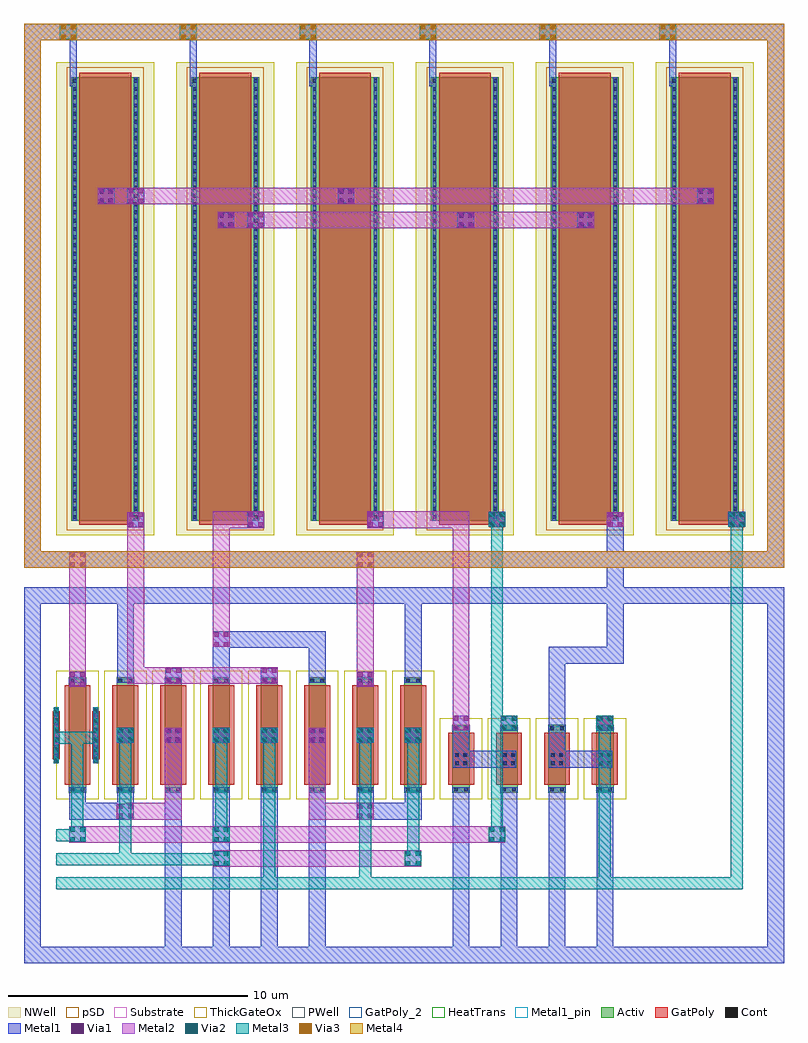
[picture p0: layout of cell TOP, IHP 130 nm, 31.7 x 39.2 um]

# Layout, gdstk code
from math import pi, radians
import gdstk
lib = gdstk.Library(unit=1e-6, precision=1e-09)
def R(c, l, rs):  # rectangles x0, y0, x1, y1
    for r in rs: c.add(gdstk.rectangle(r[:2], r[2:], *l))
def A(c, l, x, y, w, h, nx, ny, dx, dy):  # array of equal rectangles
    R(c, l, [(x+i*dx, y+j*dy, x+i*dx+w, y+j*dy+h) for i in range(nx) for j in range(ny)])
Activ = (1, 0)
GatPoly = (5, 0)
GatPoly_2 = (5, 2)
Cont = (6, 0)
Metal1 = (8, 0)
Metal1_pin = (8, 2)
Metal2 = (10, 0)
pSD = (14, 0)
Via1 = (19, 0)
Via2 = (29, 0)
Metal3 = (30, 0)
NWell = (31, 0)
Substrate = (40, 0)
ThickGateOx = (44, 0)
PWell = (46, 0)
Via3 = (49, 0)
Metal4 = (50, 0)
HeatTrans = (51, 0)

pmoshv = lib.new_cell('pmosHV')
R(pmoshv, Activ, [(0,0,0.3,0.3), (0,0,2.84,18.5), (2.54,0,2.84,0.3)])
R(pmoshv, GatPoly, [(0.34,-0.18,2.5,18.68)])
R(pmoshv, GatPoly_2, [(0.34,-0.18,2.5,18.68)])
A(pmoshv, Cont, 0.07, 0.41, 0.16, 0.16, 1, 3, 0, 0.345)
A(pmoshv, Cont, 2.61, 0.41, 0.16, 0.16, 1, 3, 0, 0.345)
A(pmoshv, Cont, 0.07, 1.44, 0.16, 0.16, 1, 3, 0, 0.345)
A(pmoshv, Cont, 2.61, 1.44, 0.16, 0.16, 1, 3, 0, 0.345)
A(pmoshv, Cont, 0.07, 2.47, 0.16, 0.16, 1, 3, 0, 0.345)
A(pmoshv, Cont, 2.61, 2.47, 0.16, 0.16, 1, 3, 0, 0.345)
A(pmoshv, Cont, 0.07, 3.5, 0.16, 0.16, 1, 3, 0, 0.345)
A(pmoshv, Cont, 2.61, 3.5, 0.16, 0.16, 1, 3, 0, 0.345)
A(pmoshv, Cont, 0.07, 4.53, 0.16, 0.16, 1, 3, 0, 0.345)
A(pmoshv, Cont, 2.61, 4.53, 0.16, 0.16, 1, 3, 0, 0.345)
A(pmoshv, Cont, 0.07, 5.56, 0.16, 0.16, 1, 3, 0, 0.345)
A(pmoshv, Cont, 2.61, 5.56, 0.16, 0.16, 1, 3, 0, 0.345)
A(pmoshv, Cont, 0.07, 6.59, 0.16, 0.16, 1, 3, 0, 0.345)
A(pmoshv, Cont, 2.61, 6.59, 0.16, 0.16, 1, 3, 0, 0.345)
A(pmoshv, Cont, 0.07, 7.62, 0.16, 0.16, 1, 3, 0, 0.345)
A(pmoshv, Cont, 2.61, 7.62, 0.16, 0.16, 1, 3, 0, 0.345)
A(pmoshv, Cont, 0.07, 8.65, 0.16, 0.16, 1, 4, 0, 0.345)
A(pmoshv, Cont, 2.61, 8.65, 0.16, 0.16, 1, 4, 0, 0.345)
A(pmoshv, Cont, 0.07, 10.025, 0.16, 0.16, 1, 3, 0, 0.345)
A(pmoshv, Cont, 2.61, 10.025, 0.16, 0.16, 1, 3, 0, 0.345)
A(pmoshv, Cont, 0.07, 11.055, 0.16, 0.16, 1, 3, 0, 0.345)
A(pmoshv, Cont, 2.61, 11.055, 0.16, 0.16, 1, 3, 0, 0.345)
A(pmoshv, Cont, 0.07, 12.085, 0.16, 0.16, 1, 3, 0, 0.345)
A(pmoshv, Cont, 2.61, 12.085, 0.16, 0.16, 1, 3, 0, 0.345)
A(pmoshv, Cont, 0.07, 13.115, 0.16, 0.16, 1, 3, 0, 0.345)
A(pmoshv, Cont, 2.61, 13.115, 0.16, 0.16, 1, 3, 0, 0.345)
A(pmoshv, Cont, 0.07, 14.145, 0.16, 0.16, 1, 3, 0, 0.345)
A(pmoshv, Cont, 2.61, 14.145, 0.16, 0.16, 1, 3, 0, 0.345)
A(pmoshv, Cont, 0.07, 15.175, 0.16, 0.16, 1, 3, 0, 0.345)
A(pmoshv, Cont, 2.61, 15.175, 0.16, 0.16, 1, 3, 0, 0.345)
A(pmoshv, Cont, 0.07, 16.205, 0.16, 0.16, 1, 3, 0, 0.345)
A(pmoshv, Cont, 2.61, 16.205, 0.16, 0.16, 1, 3, 0, 0.345)
A(pmoshv, Cont, 0.07, 17.235, 0.16, 0.16, 1, 4, 0, 0.345)
A(pmoshv, Cont, 2.61, 17.235, 0.16, 0.16, 1, 4, 0, 0.345)
R(pmoshv, Cont, [(0.07,0.07,0.23,0.23), (2.61,0.07,2.77,0.23)])
R(pmoshv, Metal1, [(0.07,0,0.23,18.5), (2.61,0,2.77,18.5)])
R(pmoshv, Metal1_pin, [(0.07,0,0.23,18.5), (2.61,0,2.77,18.5)])
R(pmoshv, pSD, [(-0.18,-0.4,3.02,18.9)])
R(pmoshv, NWell, [(-0.62,-0.62,3.46,19.12)])
R(pmoshv, Substrate, [(2.54,0,2.84,0.3)])
R(pmoshv, ThickGateOx, [(-0.62,-0.62,3.46,19.12)])
R(pmoshv, HeatTrans, [(0.34,-0.18,2.5,18.68)])
pmoshv.add(gdstk.Label('pmosHV', (1.42,9.25), layer=63, texttype=0))
pmoshv.add(gdstk.Label('pmos', (1.42,9.25), layer=51, texttype=0))

nmoshv = lib.new_cell('nmosHV')
R(nmoshv, Activ, [(0,0,0.3,0.3), (0,0,4.82,0.72), (4.52,0,4.82,0.3)])
R(nmoshv, GatPoly, [(0.34,-0.18,4.48,0.9)])
R(nmoshv, GatPoly_2, [(0.34,-0.18,4.48,0.9)])
R(nmoshv, Cont, [(0.07,0.07,0.23,0.23), (4.59,0.07,4.75,0.23), (0.07,0.49,0.23,0.65), (4.59,0.49,4.75,0.65)])
R(nmoshv, Metal1, [(0.07,0,0.23,0.72), (4.59,0,4.75,0.72)])
R(nmoshv, Metal1_pin, [(0.07,0,0.23,0.72), (4.59,0,4.75,0.72)])
R(nmoshv, ThickGateOx, [(-0.27,-0.52,5.09,1.24)])
R(nmoshv, HeatTrans, [(0.34,-0.18,4.48,0.9)])
nmoshv.add(gdstk.Label('nmosHV', (2.41,0.36), layer=63, texttype=0))
nmoshv.add(gdstk.Label('nmosHV', (2.41,0.36), layer=51, texttype=0))

nmoshv_2 = lib.new_cell('nmosHV$2')
R(nmoshv_2, Activ, [(0,0,0.3,0.3), (0,0,2.84,0.72), (2.54,0,2.84,0.3)])
R(nmoshv_2, GatPoly, [(0.34,-0.18,2.5,0.9)])
R(nmoshv_2, GatPoly_2, [(0.34,-0.18,2.5,0.9)])
R(nmoshv_2, Cont, [(0.07,0.07,0.23,0.23), (2.61,0.07,2.77,0.23), (0.07,0.49,0.23,0.65), (2.61,0.49,2.77,0.65)])
R(nmoshv_2, Metal1, [(0.07,0,0.23,0.72), (2.61,0,2.77,0.72)])
R(nmoshv_2, Metal1_pin, [(0.07,0,0.23,0.72), (2.61,0,2.77,0.72)])
R(nmoshv_2, ThickGateOx, [(-0.27,-0.52,3.11,1.24)])
R(nmoshv_2, HeatTrans, [(0.34,-0.18,2.5,0.9)])
nmoshv_2.add(gdstk.Label('nmosHV', (1.42,0.36), layer=63, texttype=0))
nmoshv_2.add(gdstk.Label('nmosHV', (1.42,0.36), layer=51, texttype=0))

via_stack_3 = lib.new_cell('via_stack$3')
R(via_stack_3, Metal1, [(-0.35,-0.31,0.35,0.31)])
R(via_stack_3, Metal2, [(-0.35,-0.305,0.35,0.305)])
R(via_stack_3, Via1, [(-0.3,-0.3,-0.11,-0.11), (0.11,-0.3,0.3,-0.11), (-0.3,0.11,-0.11,0.3), (0.11,0.11,0.3,0.3)])
R(via_stack_3, Via2, [(-0.3,-0.3,-0.11,-0.11), (0.11,-0.3,0.3,-0.11), (-0.3,0.11,-0.11,0.3), (0.11,0.11,0.3,0.3)])
R(via_stack_3, Metal3, [(-0.35,-0.305,0.35,0.305)])
R(via_stack_3, Via3, [(-0.3,-0.3,-0.11,-0.11), (0.11,-0.3,0.3,-0.11), (-0.3,0.11,-0.11,0.3), (0.11,0.11,0.3,0.3)])
R(via_stack_3, Metal4, [(-0.35,-0.305,0.35,0.305)])

via_stack_2 = lib.new_cell('via_stack$2')
R(via_stack_2, GatPoly, [(-0.32,-0.32,0.32,0.32)])
R(via_stack_2, Cont, [(-0.25,-0.25,-0.09,-0.09), (0.09,-0.25,0.25,-0.09), (-0.25,0.09,-0.09,0.25), (0.09,0.09,0.25,0.25)])
R(via_stack_2, Metal1, [(-0.35,-0.31,0.35,0.31)])
R(via_stack_2, Metal2, [(-0.35,-0.305,0.35,0.305)])
R(via_stack_2, Via1, [(-0.3,-0.3,-0.11,-0.11), (0.11,-0.3,0.3,-0.11), (-0.3,0.11,-0.11,0.3), (0.11,0.11,0.3,0.3)])

via_stack = lib.new_cell('via_stack')
R(via_stack, Metal1, [(-0.35,-0.31,0.35,0.31)])
R(via_stack, Metal2, [(-0.35,-0.305,0.35,0.305)])
R(via_stack, Via1, [(-0.3,-0.3,-0.11,-0.11), (0.11,-0.3,0.3,-0.11), (-0.3,0.11,-0.11,0.3), (0.11,0.11,0.3,0.3)])

text = lib.new_cell('TEXT')

via_stack_4 = lib.new_cell('via_stack$4')
R(via_stack_4, GatPoly, [(-0.32,-0.32,0.32,0.32)])
R(via_stack_4, Cont, [(-0.25,-0.25,-0.09,-0.09), (0.09,-0.25,0.25,-0.09), (-0.25,0.09,-0.09,0.25), (0.09,0.09,0.25,0.25)])
R(via_stack_4, Metal1, [(-0.35,-0.31,0.35,0.31)])
R(via_stack_4, Metal2, [(-0.35,-0.305,0.35,0.305)])
R(via_stack_4, Via1, [(-0.3,-0.3,-0.11,-0.11), (0.11,-0.3,0.3,-0.11), (-0.3,0.11,-0.11,0.3), (0.11,0.11,0.3,0.3)])
R(via_stack_4, Via2, [(-0.3,-0.3,-0.11,-0.11), (0.11,-0.3,0.3,-0.11), (-0.3,0.11,-0.11,0.3), (0.11,0.11,0.3,0.3)])
R(via_stack_4, Metal3, [(-0.35,-0.305,0.35,0.305)])

via_stack_5 = lib.new_cell('via_stack$5')
R(via_stack_5, GatPoly, [(-0.32,-0.32,0.32,0.32)])
R(via_stack_5, Cont, [(-0.25,-0.25,-0.09,-0.09), (0.09,-0.25,0.25,-0.09), (-0.25,0.09,-0.09,0.25), (0.09,0.09,0.25,0.25)])
R(via_stack_5, Metal1, [(-0.3,-0.25,0.3,0.25)])

via_stack_6 = lib.new_cell('via_stack$6')
R(via_stack_6, Metal2, [(-0.35,-0.305,0.35,0.305)])
R(via_stack_6, Via2, [(-0.3,-0.3,-0.11,-0.11), (0.11,-0.3,0.3,-0.11), (-0.3,0.11,-0.11,0.3), (0.11,0.11,0.3,0.3)])
R(via_stack_6, Metal3, [(-0.35,-0.305,0.35,0.305)])

via_stack_7 = lib.new_cell('via_stack$7')
R(via_stack_7, Metal1, [(-0.35,-0.31,0.35,0.31)])
R(via_stack_7, Metal2, [(-0.35,-0.305,0.35,0.305)])
R(via_stack_7, Via1, [(-0.3,-0.3,-0.11,-0.11), (0.11,-0.3,0.3,-0.11), (-0.3,0.11,-0.11,0.3), (0.11,0.11,0.3,0.3)])
R(via_stack_7, Via2, [(-0.3,-0.3,-0.11,-0.11), (0.11,-0.3,0.3,-0.11), (-0.3,0.11,-0.11,0.3), (0.11,0.11,0.3,0.3)])
R(via_stack_7, Metal3, [(-0.35,-0.305,0.35,0.305)])

via_stack_8 = lib.new_cell('via_stack$8')
R(via_stack_8, GatPoly, [(-0.15,-1,0.15,1)])
A(via_stack_8, Cont, -0.08, -0.93, 0.16, 0.16, 1, 6, 0, 0.34)
R(via_stack_8, Metal1, [(-0.105,-1.17,0.105,1.17)])
R(via_stack_8, Metal2, [(-0.1,-1.17,0.1,1.17)])
A(via_stack_8, Via1, -0.095, -1.12, 0.19, 0.19, 1, 6, 0, 0.41)
A(via_stack_8, Via2, -0.095, -1.12, 0.19, 0.19, 1, 6, 0, 0.41)
R(via_stack_8, Metal3, [(-0.1,-1.17,0.1,1.17)])

top = lib.new_cell('TOP')
R(top, PWell, [(-1.35,-1.35,30.35,21.35)])
top.add(gdstk.FlexPath([(-1,21),(30,21),(30,-1),(-1,-1),(-1,21.35)], 0.7, ends="flush", simple_path=True, layer=8, datatype=0))  # Metal1
top.add(gdstk.FlexPath([(4.88,-10.58),(4.88,-17.5)], 0.7, ends="flush", simple_path=True, layer=8, datatype=0))  # Metal1
top.add(gdstk.FlexPath([(6.88,-10.58),(6.88,-17.5)], 0.7, ends="flush", simple_path=True, layer=8, datatype=0))  # Metal1
top.add(gdstk.FlexPath([(8.88,-10.58),(8.88,-17.5)], 0.7, ends="flush", simple_path=True, layer=8, datatype=0))  # Metal1
top.add(gdstk.FlexPath([(10.88,-10.58),(10.88,-17.5)], 0.7, ends="flush", simple_path=True, layer=8, datatype=0))  # Metal1
top.add(gdstk.FlexPath([(6.878,-4.03),(6.878,-6.14)], 0.7, ends="flush", simple_path=True, layer=8, datatype=0))  # Metal1
top.add(gdstk.FlexPath([(6.528,-4.34),(10.88,-4.34),(10.88,-6.14)], 0.7, ends="flush", simple_path=True, layer=8, datatype=0))  # Metal1
top.add(gdstk.FlexPath([(14.88,-6.06),(14.88,-2.5)], 0.7, ends="flush", simple_path=True, layer=8, datatype=0))  # Metal1
top.add(gdstk.FlexPath([(12.88,-10.5),(12.88,-11.5),(14.88,-11.5),(14.88,-10.5),(14.88,-10.5)], 0.7, ends="flush", simple_path=True, layer=8, datatype=0))  # Metal1
top.add(gdstk.FlexPath([(16.88,-10.5),(16.88,-17.5)], 0.7, ends="flush", simple_path=True, layer=8, datatype=0))  # Metal1
top.add(gdstk.FlexPath([(18.88,-10.5),(18.88,-17.5)], 0.7, ends="flush", simple_path=True, layer=8, datatype=0))  # Metal1
top.add(gdstk.FlexPath([(20.88,-10.5),(20.88,-17.5)], 0.7, ends="flush", simple_path=True, layer=8, datatype=0))  # Metal1
top.add(gdstk.FlexPath([(22.88,-10.5),(22.88,-17.5)], 0.7, ends="flush", simple_path=True, layer=8, datatype=0))  # Metal1
top.add(gdstk.FlexPath([(16.88,-7.96),(16.88,-9.33),(19.179,-9.33)], 0.7, ends="flush", simple_path=True, layer=8, datatype=0))  # Metal1
top.add(gdstk.FlexPath([(20.88,-7.96),(20.88,-9.33),(23.179,-9.33)], 0.7, ends="flush", simple_path=True, layer=8, datatype=0))  # Metal1
top.add(gdstk.FlexPath([(23.311,0.965),(23.311,-5),(20.88,-5),(20.88,-8.04)], 0.7, ends="flush", simple_path=True, layer=8, datatype=0))  # Metal1
top.add(gdstk.FlexPath([(0.705,20.7),(0.705,18.89),(0.85,18.89)], 0.3, ends="flush", simple_path=True, layer=8, datatype=0))  # Metal1
top.add(gdstk.FlexPath([(5.705,20.7),(5.705,18.89),(5.85,18.89)], 0.3, ends="flush", simple_path=True, layer=8, datatype=0))  # Metal1
top.add(gdstk.FlexPath([(15.705,20.7),(15.705,18.89),(15.85,18.89)], 0.3, ends="flush", simple_path=True, layer=8, datatype=0))  # Metal1
top.add(gdstk.FlexPath([(10.705,20.7),(10.705,18.89),(10.85,18.89)], 0.3, ends="flush", simple_path=True, layer=8, datatype=0))  # Metal1
top.add(gdstk.FlexPath([(20.705,20.7),(20.705,18.89),(20.85,18.89)], 0.3, ends="flush", simple_path=True, layer=8, datatype=0))  # Metal1
top.add(gdstk.FlexPath([(25.705,20.7),(25.705,18.89),(25.85,18.89)], 0.3, ends="flush", simple_path=True, layer=8, datatype=0))  # Metal1
top.add(gdstk.FlexPath([(-1,21),(30,21),(30,-1),(-1,-1),(-1,21.35)], 0.7, ends="flush", simple_path=True, layer=8, datatype=0))  # Metal1
top.add(gdstk.FlexPath([(2.88,-6.06),(2.88,-2.5)], 0.7, ends="flush", simple_path=True, layer=8, datatype=0))  # Metal1
top.add(gdstk.FlexPath([(-1,-2.5),(30,-2.5),(30,-17.5),(-1,-17.5),(-1,-2.5),(-0.5,-2.5)], 0.7, ends="flush", simple_path=True, layer=8, datatype=0))  # Metal1
top.add(gdstk.FlexPath([(0.88,-10.5),(0.88,-11.5),(2.88,-11.5),(2.88,-10.5),(2.88,-10.5)], 0.7, ends="flush", simple_path=True, layer=8, datatype=0))  # Metal1
top.add(gdstk.FlexPath([(2.879,-11.502),(4.879,-11.502),(4.879,-8.33)], 0.7, ends="flush", simple_path=True, layer=10, datatype=0))  # Metal2
top.add(gdstk.FlexPath([(3.311,0.965),(3.311,-5.84),(5.238,-5.84),(5.238,-5.84)], 0.7, ends="flush", simple_path=True, layer=10, datatype=0))  # Metal2
top.add(gdstk.FlexPath([(5.238,-5.84),(9.231,-5.84)], 0.7, ends="flush", simple_path=True, layer=10, datatype=0))  # Metal2
top.add(gdstk.FlexPath([(13.229,-11.502),(10.879,-11.502),(10.879,-8.635)], 0.7, ends="flush", simple_path=True, layer=10, datatype=0))  # Metal2
top.add(gdstk.FlexPath([(0.529,-12.472),(7.229,-12.472)], 0.7, ends="flush", simple_path=True, layer=10, datatype=0))  # Metal2
top.add(gdstk.FlexPath([(6.529,-13.472),(15.229,-13.472)], 0.7, ends="flush", simple_path=True, layer=10, datatype=0))  # Metal2
top.add(gdstk.FlexPath([(7.229,-12.472),(18.729,-12.472)], 0.7, ends="flush", simple_path=True, layer=10, datatype=0))  # Metal2
top.add(gdstk.FlexPath([(8.661,0.66),(6.878,0.66),(6.878,-4.645)], 0.7, ends="flush", simple_path=True, layer=10, datatype=0))  # Metal2
top.add(gdstk.FlexPath([(12.961,0.66),(16.879,0.66),(16.879,-8.135)], 0.7, ends="flush", simple_path=True, layer=10, datatype=0))  # Metal2
top.add(gdstk.FlexPath([(6.73,13.16),(22.43,13.16)], 0.7, ends="flush", simple_path=True, layer=10, datatype=0))  # Metal2
top.add(gdstk.FlexPath([(0.88,-1),(0.88,-6.06)], 0.7, ends="flush", simple_path=True, layer=10, datatype=0))  # Metal2
top.add(gdstk.FlexPath([(12.88,-1),(12.88,-6.06)], 0.7, ends="flush", simple_path=True, layer=10, datatype=0))  # Metal2
top.add(gdstk.FlexPath([(1.73,14.16),(27.43,14.16)], 0.7, ends="flush", simple_path=True, layer=10, datatype=0))  # Metal2
top.add(gdstk.FlexPath([(0,-8.44),(1.65,-8.44)], 0.5, ends="flush", simple_path=True, layer=30, datatype=0))  # Metal3
top.add(gdstk.FlexPath([(8.879,-8.33),(8.879,-14.75)], 0.5, ends="flush", simple_path=True, layer=30, datatype=0))  # Metal3
top.add(gdstk.FlexPath([(12.879,-8.33),(12.879,-14.75)], 0.5, ends="flush", simple_path=True, layer=30, datatype=0))  # Metal3
top.add(gdstk.FlexPath([(22.879,-7.525),(22.879,-14.75)], 0.5, ends="flush", simple_path=True, layer=30, datatype=0))  # Metal3
top.add(gdstk.FlexPath([(18.379,0.975),(18.379,-12.75)], 0.5, ends="flush", simple_path=True, layer=30, datatype=0))  # Metal3
top.add(gdstk.FlexPath([(28.379,0.975),(28.379,-14.5),(23.5,-14.5)], 0.5, ends="flush", simple_path=True, layer=30, datatype=0))  # Metal3
top.add(gdstk.FlexPath([(0,-12.5),(1,-12.5)], 0.5, ends="flush", simple_path=True, layer=30, datatype=0))  # Metal3
top.add(gdstk.FlexPath([(0,-13.5),(7.229,-13.5)], 0.5, ends="flush", simple_path=True, layer=30, datatype=0))  # Metal3
top.add(gdstk.FlexPath([(0,-14.5),(23.5,-14.5),(23.5,-14.5)], 0.5, ends="flush", simple_path=True, layer=30, datatype=0))  # Metal3
top.add(gdstk.FlexPath([(2.879,-13.751),(2.879,-8.33),(2.879,-8.33)], 0.5, ends="flush", simple_path=True, layer=30, datatype=0))  # Metal3
top.add(gdstk.FlexPath([(0.88,-8.32),(0.88,-12.5)], 0.5, ends="flush", simple_path=True, layer=30, datatype=0))  # Metal3
top.add(gdstk.FlexPath([(6.88,-8.32),(6.88,-12.5)], 0.5, ends="flush", simple_path=True, layer=30, datatype=0))  # Metal3
top.add(gdstk.FlexPath([(14.879,-13.751),(14.879,-8.33),(14.879,-8.33)], 0.5, ends="flush", simple_path=True, layer=30, datatype=0))  # Metal3
top.add(gdstk.FlexPath([(-1,21),(30,21),(30,-1),(-1,-1),(-1,21),(-0.5,21)], 0.7, ends="flush", simple_path=True, layer=50, datatype=0))  # Metal4
top.add(gdstk.Reference(pmoshv, (25.62,0.62)))
top.add(gdstk.Reference(pmoshv, (20.62,0.62)))
top.add(gdstk.Reference(pmoshv, (10.62,0.62)))
top.add(gdstk.Reference(pmoshv, (5.62,0.62)))
top.add(gdstk.Reference(pmoshv, (0.62,0.62)))
top.add(gdstk.Reference(nmoshv, (3.24,-10.73), rotation=pi/2))
top.add(gdstk.Reference(nmoshv, (5.24,-10.73), rotation=pi/2))
top.add(gdstk.Reference(nmoshv, (7.24,-10.73), rotation=pi/2))
top.add(gdstk.Reference(nmoshv, (9.24,-10.73), rotation=pi/2))
top.add(gdstk.Reference(nmoshv, (11.24,-10.73), rotation=pi/2))
top.add(gdstk.Reference(nmoshv, (13.24,-10.73), rotation=pi/2))
top.add(gdstk.Reference(nmoshv, (15.24,-10.73), rotation=pi/2))
top.add(gdstk.Reference(nmoshv_2, (17.24,-10.73), rotation=pi/2))
top.add(gdstk.Reference(nmoshv_2, (19.24,-10.73), rotation=pi/2))
top.add(gdstk.Reference(nmoshv_2, (21.24,-10.73), rotation=pi/2))
top.add(gdstk.Reference(nmoshv_2, (23.24,-10.73), rotation=pi/2))
top.add(gdstk.Reference(via_stack_3, (0.5,21)))
top.add(gdstk.Reference(via_stack_3, (5.5,21)))
top.add(gdstk.Reference(via_stack_3, (15.5,21)))
top.add(gdstk.Reference(via_stack_3, (10.5,21)))
top.add(gdstk.Reference(via_stack_3, (20.5,21)))
top.add(gdstk.Reference(via_stack_3, (25.5,21)))
top.add(gdstk.Reference(via_stack_2, (12.08,14.16)))
top.add(gdstk.Reference(via_stack, (3.311,14.16)))
top.add(gdstk.Reference(via_stack_2, (2.08,14.16)))
top.add(gdstk.Reference(via_stack_2, (17.08,13.16)))
top.add(gdstk.Reference(via_stack, (8.311,13.16)))
top.add(gdstk.Reference(via_stack_2, (7.08,13.16)))
top.add(gdstk.Reference(pmoshv, (15.62,0.62)))
top.add(gdstk.Reference(via_stack_2, (27.08,14.16)))
top.add(gdstk.Reference(via_stack_2, (22.08,13.16)))
top.add(gdstk.Reference(text, (-7,-13.5)))
top.add(gdstk.Reference(text, (-6.5,-13.5)))
top.add(gdstk.Reference(via_stack, (0.88,-6)))
top.add(gdstk.Reference(via_stack, (12.88,-1)))
top.add(gdstk.Reference(via_stack, (12.88,-6)))
top.add(gdstk.Reference(via_stack_4, (6.879,-8.33)))
top.add(gdstk.Reference(via_stack_4, (2.879,-8.33)))
top.add(gdstk.Reference(via_stack, (8.881,-5.84)))
top.add(gdstk.Reference(via_stack_4, (14.879,-8.33)))
top.add(gdstk.Reference(via_stack_2, (4.879,-8.33)))
top.add(gdstk.Reference(via_stack, (8.311,0.66)))
top.add(gdstk.Reference(via_stack, (2.879,-11.502)))
top.add(gdstk.Reference(via_stack, (0.88,-1)))
top.add(gdstk.Reference(via_stack, (3.311,0.66)))
top.add(gdstk.Reference(via_stack, (4.888,-5.84)))
top.add(gdstk.Reference(via_stack, (6.878,-4.34)))
top.add(gdstk.Reference(via_stack_4, (8.879,-8.33)))
top.add(gdstk.Reference(via_stack, (12.879,-11.502)))
top.add(gdstk.Reference(via_stack_2, (10.879,-8.33)))
top.add(gdstk.Reference(via_stack_4, (12.879,-8.33)))
top.add(gdstk.Reference(via_stack_5, (16.879,-9.33)))
top.add(gdstk.Reference(via_stack_5, (20.879,-9.33)))
top.add(gdstk.Reference(via_stack_5, (18.879,-9.33)))
top.add(gdstk.Reference(via_stack_5, (22.879,-9.33)))
top.add(gdstk.Reference(via_stack_4, (22.879,-7.83)))
top.add(gdstk.Reference(via_stack_4, (28.379,0.67)))
top.add(gdstk.Reference(via_stack_4, (18.379,0.67)))
top.add(gdstk.Reference(via_stack_6, (0.879,-12.472)))
top.add(gdstk.Reference(via_stack_6, (6.879,-12.472)))
top.add(gdstk.Reference(via_stack_6, (6.879,-13.472)))
top.add(gdstk.Reference(via_stack_6, (14.879,-13.472)))
top.add(gdstk.Reference(via_stack_6, (18.379,-12.472)))
top.add(gdstk.Reference(via_stack, (13.311,0.66)))
top.add(gdstk.Reference(via_stack, (23.311,0.66)))
top.add(gdstk.Reference(via_stack, (16.879,-7.83)))
top.add(gdstk.Reference(via_stack_7, (18.879,-7.83)))
top.add(gdstk.Reference(via_stack_8, (1.65,-8.33)))
top.add(gdstk.Reference(nmoshv, (1.24,-10.73), rotation=pi/2))
top.add(gdstk.Reference(via_stack_8, (0,-8.33)))

lib.write_gds('TOP.gds')
